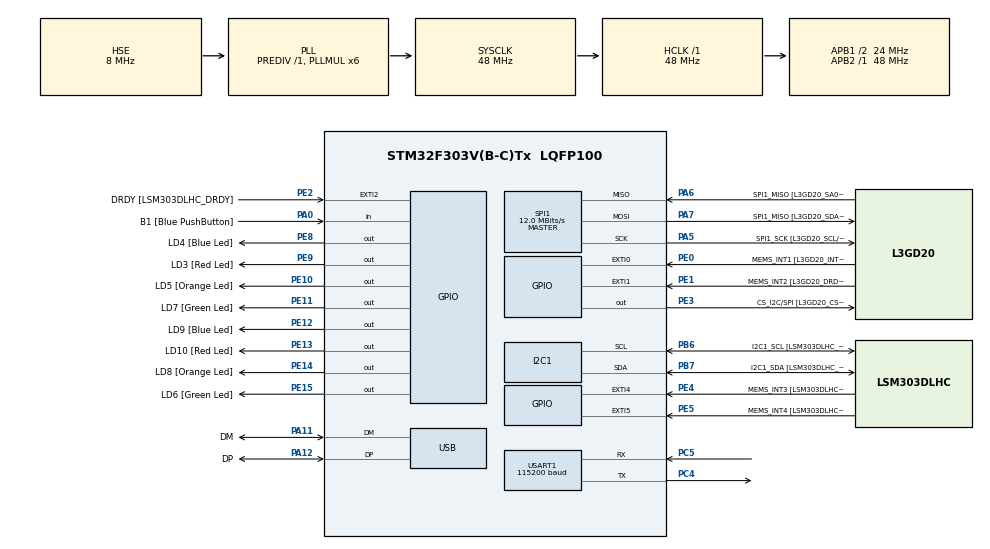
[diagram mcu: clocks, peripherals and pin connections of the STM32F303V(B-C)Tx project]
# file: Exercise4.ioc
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I2C1.Timing=0x00201D2B
I2C1.Timing-I2C=0x2000090E
Mcu.Family=STM32F3
Mcu.Name=STM32F303V(B-C)Tx
Mcu.Package=LQFP100
NVIC.PriorityGroup=NVIC_PRIORITYGROUP_0
PA0.GPIO_Label=B1 [Blue PushButton]
PA0.Signal=GPIO_Input
PA11.GPIO_Label=DM
PA11.Mode=Device
PA11.Signal=USB_DM
PA12.GPIO_Label=DP
PA12.Mode=Device
PA12.Signal=USB_DP
PA13.GPIO_Label=SWDIO
PA13.Mode=Serial_Wire
PA13.Signal=SYS_JTMS-SWDIO
PA14.GPIO_Label=SWCLK
PA14.Mode=Serial_Wire
PA14.Signal=SYS_JTCK-SWCLK
PA5.GPIO_Label=SPI1_SCK [L3GD20_SCL/SPC]
PA5.Mode=Full_Duplex_Master
PA5.Signal=SPI1_SCK
PA6.GPIO_Label=SPI1_MISO [L3GD20_SA0/SDO]
PA6.Mode=Full_Duplex_Master
PA6.Signal=SPI1_MISO
PA7.GPIO_Label=SPI1_MISO [L3GD20_SDA/SDI/SDO]
PA7.Mode=Full_Duplex_Master
PA7.Signal=SPI1_MOSI
PB3.GPIO_Label=SWO
PB3.Signal=SYS_JTDO-TRACESWO
PB6.GPIO_Label=I2C1_SCL [LSM303DLHC_SCL]
PB6.GPIO_Pu=GPIO_PULLUP
PB6.Mode=I2C
PB6.Signal=I2C1_SCL
PB7.GPIO_Label=I2C1_SDA [LSM303DLHC_SDA]
PB7.GPIO_Pu=GPIO_PULLUP
PB7.Mode=I2C
PB7.Signal=I2C1_SDA
PC14-OSC32_IN.GPIO_Label=OSC32_IN
PC14-OSC32_IN.Signal=RCC_OSC32_IN
PC15-OSC32_OUT.GPIO_Label=OSC32_OUT
PC15-OSC32_OUT.Signal=RCC_OSC32_OUT
PC4.Mode=Asynchronous
PC4.Signal=USART1_TX
PC5.Mode=Asynchronous
PC5.Signal=USART1_RX
PE0.GPIO_Label=MEMS_INT1 [L3GD20_INT1]
PE0.GPIO_ModeDefaultEXTI=GPIO_MODE_EVT_RISING
PE0.Signal=GPXTI0
PE1.GPIO_Label=MEMS_INT2 [L3GD20_DRDY/INT2]
PE1.GPIO_ModeDefaultEXTI=GPIO_MODE_EVT_RISING
PE1.Signal=GPXTI1
PE10.GPIO_Label=LD5 [Orange Led]
PE10.Signal=GPIO_Output
PE11.GPIO_Label=LD7 [Green Led]
PE11.Signal=GPIO_Output
PE12.GPIO_Label=LD9 [Blue Led]
PE12.Signal=GPIO_Output
PE13.GPIO_Label=LD10 [Red Led]
PE13.Signal=GPIO_Output
PE14.GPIO_Label=LD8 [Orange Led]
PE14.Signal=GPIO_Output
PE15.GPIO_Label=LD6 [Green Led]
PE15.Signal=GPIO_Output
PE2.GPIO_Label=DRDY [LSM303DLHC_DRDY]
PE2.GPIO_ModeDefaultEXTI=GPIO_MODE_EVT_RISING
PE2.Signal=GPXTI2
PE3.GPIO_Label=CS_I2C/SPI [L3GD20_CS_I2C/SPI]
PE3.Signal=GPIO_Output
PE4.GPIO_Label=MEMS_INT3 [LSM303DLHC_INT1]
PE4.GPIO_ModeDefaultEXTI=GPIO_MODE_EVT_RISING
PE4.Signal=GPXTI4
PE5.GPIO_Label=MEMS_INT4 [LSM303DLHC_INT2]
PE5.GPIO_ModeDefaultEXTI=GPIO_MODE_EVT_RISING
PE5.Signal=GPXTI5
PE8.GPIO_Label=LD4 [Blue Led]
PE8.Signal=GPIO_Output
PE9.GPIO_Label=LD3 [Red Led]
PE9.Signal=GPIO_Output
PF0-OSC_IN.GPIO_Label=OSC_IN
PF0-OSC_IN.Mode=HSE-External-Clock-Source
PF0-OSC_IN.Signal=RCC_OSC_IN
PF1-OSC_OUT.GPIO_Label=OSC_OUT
PF1-OSC_OUT.Signal=RCC_OSC_OUT
ProjectManager.HeapSize=0x200
ProjectManager.StackSize=0x400
ProjectManager.TargetToolchain=STM32CubeIDE
RCC.AHBFreq_Value=48000000
RCC.APB1CLKDivider=RCC_HCLK_DIV2
RCC.APB1Freq_Value=24000000
RCC.APB1TimFreq_Value=48000000
RCC.APB2Freq_Value=48000000
RCC.APB2TimFreq_Value=48000000
RCC.CortexFreq_Value=48000000
RCC.HCLKFreq_Value=48000000
RCC.HSE_VALUE=8000000
RCC.HSI_VALUE=8000000
RCC.LSE_VALUE=32768
RCC.PLLMUL=RCC_PLL_MUL6
RCC.SYSCLKFreq_VALUE=48000000
RCC.SYSCLKSourceVirtual=RCC_SYSCLKSOURCE_PLLCLK
RCC.USBFreq_Value=48000000
SPI1.BaudRatePrescaler=SPI_BAUDRATEPRESCALER_4
SPI1.BaudRatePrescaler-Full_Duplex_Master=SPI_BAUDRATEPRESCALER_2
SPI1.CalculateBaudRate=12.0 MBits/s
SPI1.CalculateBaudRate-Full_Duplex_Master=24.0 MBits/s
SPI1.Direction=SPI_DIRECTION_2LINES
SPI1.Mode=SPI_MODE_MASTER
SPI1.Mode-Full_Duplex_Master=SPI_MODE_MASTER
SPI1.VirtualType=VM_MASTER
USART1.BaudRate=115200
USART1.VirtualMode-Asynchronous=VM_ASYNC
board=STM32F3DISCOVERY

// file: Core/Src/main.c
/* USER CODE BEGIN Header */
/**
  ******************************************************************************
  * @file           : main.c
  * @brief          : Main program body
  ******************************************************************************
  * @attention
  *
  * Copyright (c) 2026 STMicroelectronics.
  * All rights reserved.
  *
  * This software is licensed under terms that can be found in the LICENSE file
  * in the root directory of this software component.
  * If no LICENSE file comes with this software, it is provided AS-IS.
  *
  ******************************************************************************
  */
/* USER CODE END Header */
#include <compass.h>
#include "main.h"

/* USER CODE BEGIN Includes */
#include <stdio.h>
#include <string.h>
/* USER CODE END Includes */

I2C_HandleTypeDef hi2c1;

SPI_HandleTypeDef hspi1;

UART_HandleTypeDef huart1;

PCD_HandleTypeDef hpcd_USB_FS;

void SystemClock_Config(void);
static void MX_GPIO_Init(void);
static void MX_I2C1_Init(void);
static void MX_SPI1_Init(void);
static void MX_USART1_UART_Init(void);
static void MX_USB_PCD_Init(void);

int main(void)
{

  /* MCU Configuration--------------------------------------------------------*/

  /* Reset of all peripherals, Initializes the Flash interface and the Systick. */
  HAL_Init();

  /* Configure the system clock */
  SystemClock_Config();

  /* Initialize all configured peripherals */
  MX_GPIO_Init();
  MX_I2C1_Init();
  MX_SPI1_Init();
  MX_USART1_UART_Init();
  MX_USB_PCD_Init();
  /* USER CODE BEGIN 2 */
  compass_init();
  /* USER CODE END 2 */

  /* USER CODE BEGIN WHILE */
  char buf[80];
  while (1)
  {
    /* USER CODE END WHILE */

    /* USER CODE BEGIN 3 */
	    compass_read();
	    CompassData *d = compass_get_data();

	    int h_int  = (int)d->heading;
	    int h_frac = (int)((d->heading - h_int) * 10);
	    int p      = (int)d->pitch;
	    int r      = (int)d->roll;

	    sprintf(buf,
	        "Heading:%d.%d | Pitch:%d | Roll:%d | X:%d Y:%d Z:%d | T:%u ms\r\n",
	        h_int, h_frac, p, r,
	        d->raw_x, d->raw_y, d->raw_z,
	        (unsigned int)d->timestamp);

	    HAL_UART_Transmit(&huart1, (uint8_t*)buf, strlen(buf), HAL_MAX_DELAY);
	    HAL_Delay(300);
  }
  /* USER CODE END 3 */
}

void SystemClock_Config(void)
{
  RCC_OscInitTypeDef RCC_OscInitStruct = {0};
  RCC_ClkInitTypeDef RCC_ClkInitStruct = {0};
  RCC_PeriphCLKInitTypeDef PeriphClkInit = {0};

  /** Initializes the RCC Oscillators according to the specified parameters
  * in the RCC_OscInitTypeDef structure.
  */
  RCC_OscInitStruct.OscillatorType = RCC_OSCILLATORTYPE_HSI|RCC_OSCILLATORTYPE_HSE;
  RCC_OscInitStruct.HSEState = RCC_HSE_BYPASS;
  RCC_OscInitStruct.HSEPredivValue = RCC_HSE_PREDIV_DIV1;
  RCC_OscInitStruct.HSIState = RCC_HSI_ON;
  RCC_OscInitStruct.HSICalibrationValue = RCC_HSICALIBRATION_DEFAULT;
  RCC_OscInitStruct.PLL.PLLState = RCC_PLL_ON;
  RCC_OscInitStruct.PLL.PLLSource = RCC_PLLSOURCE_HSE;
  RCC_OscInitStruct.PLL.PLLMUL = RCC_PLL_MUL6;
  if (HAL_RCC_OscConfig(&RCC_OscInitStruct) != HAL_OK)
  {
    Error_Handler();
  }

  /** Initializes the CPU, AHB and APB buses clocks
  */
  RCC_ClkInitStruct.ClockType = RCC_CLOCKTYPE_HCLK|RCC_CLOCKTYPE_SYSCLK
                              |RCC_CLOCKTYPE_PCLK1|RCC_CLOCKTYPE_PCLK2;
  RCC_ClkInitStruct.SYSCLKSource = RCC_SYSCLKSOURCE_PLLCLK;
  RCC_ClkInitStruct.AHBCLKDivider = RCC_SYSCLK_DIV1;
  RCC_ClkInitStruct.APB1CLKDivider = RCC_HCLK_DIV2;
  RCC_ClkInitStruct.APB2CLKDivider = RCC_HCLK_DIV1;

  if (HAL_RCC_ClockConfig(&RCC_ClkInitStruct, FLASH_LATENCY_1) != HAL_OK)
  {
    Error_Handler();
  }
  PeriphClkInit.PeriphClockSelection = RCC_PERIPHCLK_USB|RCC_PERIPHCLK_USART1
                              |RCC_PERIPHCLK_I2C1;
  PeriphClkInit.Usart1ClockSelection = RCC_USART1CLKSOURCE_PCLK2;
  PeriphClkInit.I2c1ClockSelection = RCC_I2C1CLKSOURCE_HSI;
  PeriphClkInit.USBClockSelection = RCC_USBCLKSOURCE_PLL;
  if (HAL_RCCEx_PeriphCLKConfig(&PeriphClkInit) != HAL_OK)
  {
    Error_Handler();
  }
}

static void MX_I2C1_Init(void)
{

  hi2c1.Instance = I2C1;
  hi2c1.Init.Timing = 0x00201D2B;
  hi2c1.Init.OwnAddress1 = 0;
  hi2c1.Init.AddressingMode = I2C_ADDRESSINGMODE_7BIT;
  hi2c1.Init.DualAddressMode = I2C_DUALADDRESS_DISABLE;
  hi2c1.Init.OwnAddress2 = 0;
  hi2c1.Init.OwnAddress2Masks = I2C_OA2_NOMASK;
  hi2c1.Init.GeneralCallMode = I2C_GENERALCALL_DISABLE;
  hi2c1.Init.NoStretchMode = I2C_NOSTRETCH_DISABLE;
  if (HAL_I2C_Init(&hi2c1) != HAL_OK)
  {
    Error_Handler();
  }

  /** Configure Analogue filter
  */
  if (HAL_I2CEx_ConfigAnalogFilter(&hi2c1, I2C_ANALOGFILTER_ENABLE) != HAL_OK)
  {
    Error_Handler();
  }

  /** Configure Digital filter
  */
  if (HAL_I2CEx_ConfigDigitalFilter(&hi2c1, 0) != HAL_OK)
  {
    Error_Handler();
  }

}

static void MX_SPI1_Init(void)
{

  /* SPI1 parameter configuration*/
  hspi1.Instance = SPI1;
  hspi1.Init.Mode = SPI_MODE_MASTER;
  hspi1.Init.Direction = SPI_DIRECTION_2LINES;
  hspi1.Init.DataSize = SPI_DATASIZE_4BIT;
  hspi1.Init.CLKPolarity = SPI_POLARITY_LOW;
  hspi1.Init.CLKPhase = SPI_PHASE_1EDGE;
  hspi1.Init.NSS = SPI_NSS_SOFT;
  hspi1.Init.BaudRatePrescaler = SPI_BAUDRATEPRESCALER_4;
  hspi1.Init.FirstBit = SPI_FIRSTBIT_MSB;
  hspi1.Init.TIMode = SPI_TIMODE_DISABLE;
  hspi1.Init.CRCCalculation = SPI_CRCCALCULATION_DISABLE;
  hspi1.Init.CRCPolynomial = 7;
  hspi1.Init.CRCLength = SPI_CRC_LENGTH_DATASIZE;
  hspi1.Init.NSSPMode = SPI_NSS_PULSE_ENABLE;
  if (HAL_SPI_Init(&hspi1) != HAL_OK)
  {
    Error_Handler();
  }

}

static void MX_USART1_UART_Init(void)
{

  huart1.Instance = USART1;
  huart1.Init.BaudRate = 115200;
  huart1.Init.WordLength = UART_WORDLENGTH_8B;
  huart1.Init.StopBits = UART_STOPBITS_1;
  huart1.Init.Parity = UART_PARITY_NONE;
  huart1.Init.Mode = UART_MODE_TX_RX;
  huart1.Init.HwFlowCtl = UART_HWCONTROL_NONE;
  huart1.Init.OverSampling = UART_OVERSAMPLING_16;
  huart1.Init.OneBitSampling = UART_ONE_BIT_SAMPLE_DISABLE;
  huart1.AdvancedInit.AdvFeatureInit = UART_ADVFEATURE_NO_INIT;
  if (HAL_UART_Init(&huart1) != HAL_OK)
  {
    Error_Handler();
  }

}

static void MX_USB_PCD_Init(void)
{

  hpcd_USB_FS.Instance = USB;
  hpcd_USB_FS.Init.dev_endpoints = 8;
  hpcd_USB_FS.Init.speed = PCD_SPEED_FULL;
  hpcd_USB_FS.Init.phy_itface = PCD_PHY_EMBEDDED;
  hpcd_USB_FS.Init.low_power_enable = DISABLE;
  hpcd_USB_FS.Init.battery_charging_enable = DISABLE;
  if (HAL_PCD_Init(&hpcd_USB_FS) != HAL_OK)
  {
    Error_Handler();
  }

}

static void MX_GPIO_Init(void)
{
  GPIO_InitTypeDef GPIO_InitStruct = {0};

  /* GPIO Ports Clock Enable */
  __HAL_RCC_GPIOE_CLK_ENABLE();
  __HAL_RCC_GPIOC_CLK_ENABLE();
  __HAL_RCC_GPIOF_CLK_ENABLE();
  __HAL_RCC_GPIOA_CLK_ENABLE();
  __HAL_RCC_GPIOB_CLK_ENABLE();

  /*Configure GPIO pin Output Level */
  HAL_GPIO_WritePin(GPIOE, CS_I2C_SPI_Pin|LD4_Pin|LD3_Pin|LD5_Pin
                          |LD7_Pin|LD9_Pin|LD10_Pin|LD8_Pin
                          |LD6_Pin, GPIO_PIN_RESET);

  /*Configure GPIO pins : DRDY_Pin MEMS_INT3_Pin MEMS_INT4_Pin MEMS_INT1_Pin
                           MEMS_INT2_Pin */
  GPIO_InitStruct.Pin = DRDY_Pin|MEMS_INT3_Pin|MEMS_INT4_Pin|MEMS_INT1_Pin
                          |MEMS_INT2_Pin;
  GPIO_InitStruct.Mode = GPIO_MODE_EVT_RISING;
  GPIO_InitStruct.Pull = GPIO_NOPULL;
  HAL_GPIO_Init(GPIOE, &GPIO_InitStruct);

  /*Configure GPIO pins : CS_I2C_SPI_Pin LD4_Pin LD3_Pin LD5_Pin
                           LD7_Pin LD9_Pin LD10_Pin LD8_Pin
                           LD6_Pin */
  GPIO_InitStruct.Pin = CS_I2C_SPI_Pin|LD4_Pin|LD3_Pin|LD5_Pin
                          |LD7_Pin|LD9_Pin|LD10_Pin|LD8_Pin
                          |LD6_Pin;
  GPIO_InitStruct.Mode = GPIO_MODE_OUTPUT_PP;
  GPIO_InitStruct.Pull = GPIO_NOPULL;
  GPIO_InitStruct.Speed = GPIO_SPEED_FREQ_LOW;
  HAL_GPIO_Init(GPIOE, &GPIO_InitStruct);

  /*Configure GPIO pin : B1_Pin */
  GPIO_InitStruct.Pin = B1_Pin;
  GPIO_InitStruct.Mode = GPIO_MODE_INPUT;
  GPIO_InitStruct.Pull = GPIO_NOPULL;
  HAL_GPIO_Init(B1_GPIO_Port, &GPIO_InitStruct);

}

void Error_Handler(void)
{
  __disable_irq();
  while (1)
  {
  }
}
